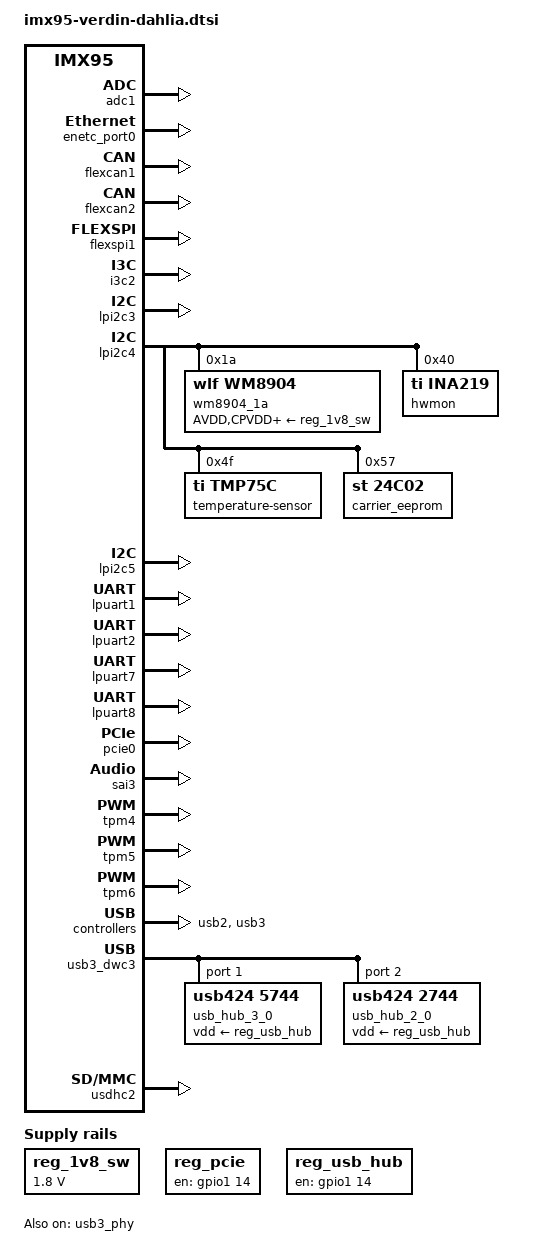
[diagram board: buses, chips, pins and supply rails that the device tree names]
// SPDX-License-Identifier: GPL-2.0-or-later OR MIT
/*
 * Copyright (c) Toradex
 *
 * Common dtsi for Verdin iMX95 SoM on Dahlia carrier board
 *
 * https://www.toradex.com/computer-on-modules/verdin-arm-family/nxp-imx95
 * https://www.toradex.com/products/carrier-board/dahlia-carrier-board-kit
 */

/ {
	aliases {
		eeprom1 = &carrier_eeprom;
	};

	reg_1v8_sw: regulator-1v8-sw {
		compatible = "regulator-fixed";
		regulator-max-microvolt = <1800000>;
		regulator-min-microvolt = <1800000>;
		regulator-name = "On-carrier +V1.8_SW";
	};

	reg_pcie: regulator-pcie {
		compatible = "regulator-fixed";
		/* Verdin CTRL_SLEEP_MOCI# (SODIMM 256) */
		gpios = <&gpio1 14 GPIO_ACTIVE_HIGH>;
		enable-active-high;
		regulator-boot-on;
		regulator-name = "PCIE_1_PWR_EN";
	};

	reg_usb_hub: regulator-usb-hub {
		compatible = "regulator-fixed";
		/* Verdin CTRL_SLEEP_MOCI# (SODIMM 256) */
		gpios = <&gpio1 14 GPIO_ACTIVE_HIGH>;
		enable-active-high;
		regulator-boot-on;
		regulator-name = "HUB_PWR_EN";
	};

	sound {
		compatible = "simple-audio-card";
		simple-audio-card,bitclock-master = <&codec_dai>;
		simple-audio-card,format = "i2s";
		simple-audio-card,frame-master = <&codec_dai>;
		simple-audio-card,mclk-fs = <256>;
		simple-audio-card,name = "verdin-wm8904";
		simple-audio-card,routing =
			"Headphone Jack", "HPOUTL",
			"Headphone Jack", "HPOUTR",
			"IN2L", "Line In Jack",
			"IN2R", "Line In Jack",
			"Microphone Jack", "MICBIAS",
			"IN1L", "Microphone Jack";
		simple-audio-card,widgets =
			"Microphone", "Microphone Jack",
			"Headphone", "Headphone Jack",
			"Line", "Line In Jack";

		codec_dai: simple-audio-card,codec {
			sound-dai = <&wm8904_1a>;
		};

		simple-audio-card,cpu {
			sound-dai = <&sai3>;
		};
	};
};

/* Verdin ADC_1, ADC_2, ADC_3 and ADC_4 */
&adc1 {
	status = "okay";
};

/* Verdin ETH_1 (On-module PHY) */
&enetc_port0 {
	status = "okay";
};

/* Verdin CAN_1 */
&flexcan1 {
	status = "okay";
};

/* Verdin CAN_2 */
&flexcan2 {
	status = "okay";
};

/* Verdin QSPI_1 */
&flexspi1 {
	status = "okay";
};

&gpio1 {
	pinctrl-names = "default";
	pinctrl-0 = <&pinctrl_ctrl_sleep_moci>;
};

&gpio2 {
	pinctrl-names = "default";
	pinctrl-0 = <&pinctrl_gpio1>,
		    <&pinctrl_gpio2>,
		    <&pinctrl_gpio3>;
};

&gpio3 {
	pinctrl-names = "default";
	pinctrl-0 = <&pinctrl_gpio6>;
};

&gpio4 {
	pinctrl-names = "default";
	pinctrl-0 = <&pinctrl_gpio5>;
};

&gpio5 {
	pinctrl-names = "default";
	pinctrl-0 = <&pinctrl_gpio4>;
};

/* Verdin I2C_3_HDMI */
&i3c2 {
	status = "okay";
};

/* Verdin I2C_2_DSI */
&lpi2c3 {
	status = "okay";
};

/* Verdin I2C_1 */
&lpi2c4 {
	status = "okay";

	wm8904_1a: audio-codec@1a {
		compatible = "wlf,wm8904";
		reg = <0x1a>;
		pinctrl-names = "default";
		pinctrl-0 = <&pinctrl_sai3_mclk>;
		clocks = <&scmi_clk IMX95_CLK_SAI3>;
		clock-names = "mclk";
		#sound-dai-cells = <0>;
		AVDD-supply = <&reg_1v8_sw>;
		CPVDD-supply = <&reg_1v8_sw>;
		DBVDD-supply = <&reg_1v8_sw>;
		DCVDD-supply = <&reg_1v8_sw>;
		MICVDD-supply = <&reg_1v8_sw>;
	};

	/* Current measurement into module VCC */
	hwmon@40 {
		compatible = "ti,ina219";
		reg = <0x40>;
		shunt-resistor = <10000>;
	};

	temperature-sensor@4f {
		compatible = "ti,tmp75c";
		reg = <0x4f>;
	};

	carrier_eeprom: eeprom@57 {
		compatible = "st,24c02", "atmel,24c02";
		reg = <0x57>;
		pagesize = <16>;
	};
};

/* Verdin I2C_4_CSI */
&lpi2c5 {
	status = "okay";
};

/* Verdin UART_3, used as the Linux console */
&lpuart1 {
	status = "okay";
};

/* Verdin UART_4 */
&lpuart2 {
	status = "okay";
};

/* Verdin UART_1 */
&lpuart7 {
	status = "okay";
};

/* Verdin UART_2 */
&lpuart8 {
	status = "okay";
};

/* Verdin PCIE_1 */
&pcie0 {
	vpcie-supply = <&reg_pcie>;

	status = "okay";
};

/* We support turning off sleep moci on Dahlia */
&reg_force_sleep_moci {
	status = "disabled";
};

/* Verdin I2S_1 */
&sai3 {
	status = "okay";
};

/* Verdin PWM_1 */
&tpm4 {
	status = "okay";
};

/* Verdin PWM_2 */
&tpm5 {
	status = "okay";
};

/* Verdin PWM_3_DSI */
&tpm6 {
	status = "okay";
};

/* Verdin USB_1 */
&usb2 {
	status = "okay";
};

/* Verdin USB_2 */
&usb3 {
	fsl,permanently-attached;

	status = "okay";
};

&usb3_dwc3 {
	#address-cells = <1>;
	#size-cells = <0>;

	usb_hub_3_0: usb-hub@1 {
		compatible = "usb424,5744";
		reg = <1>;
		peer-hub = <&usb_hub_2_0>;
		vdd-supply = <&reg_usb_hub>;
	};

	usb_hub_2_0: usb-hub@2 {
		compatible = "usb424,2744";
		reg = <2>;
		peer-hub = <&usb_hub_3_0>;
		vdd-supply = <&reg_usb_hub>;
	};
};

&usb3_phy {
	status = "okay";
};

/* Verdin SD_1 */
&usdhc2 {
	status = "okay";
};

/* Verdin CTRL_WAKE1_MICO# */
&verdin_gpio_keys {
	status = "okay";
};
